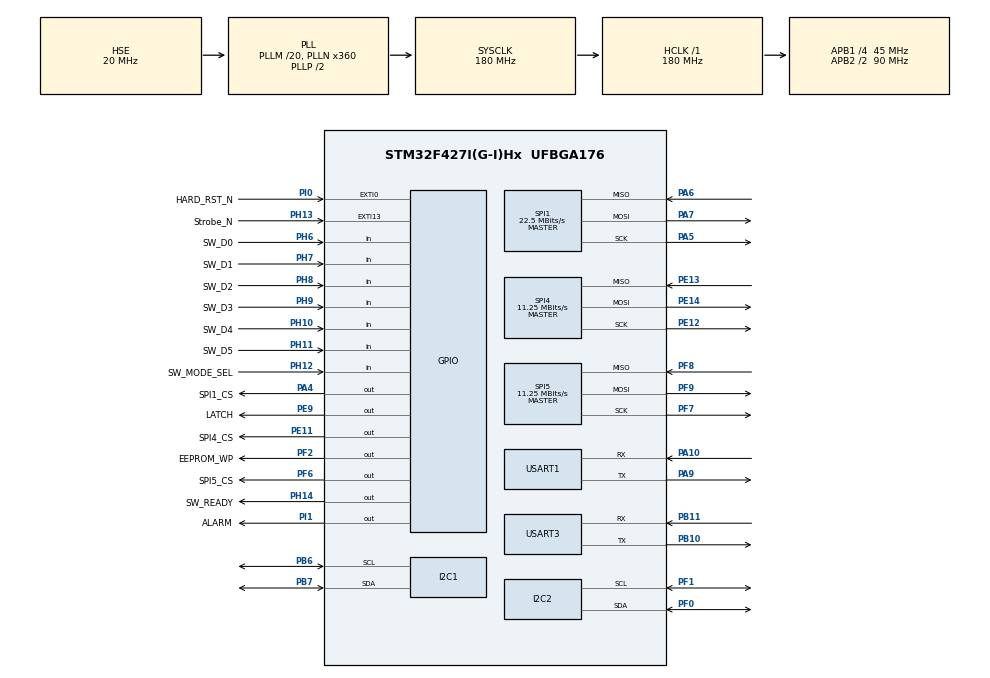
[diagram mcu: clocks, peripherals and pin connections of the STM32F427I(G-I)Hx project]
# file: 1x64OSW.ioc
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ADC1.Channel-0\#ChannelRegularConversion=ADC_CHANNEL_TEMPSENSOR
ADC1.NbrOfConversionFlag=1
ADC1.Rank-0\#ChannelRegularConversion=1
ADC1.SamplingTime-0\#ChannelRegularConversion=ADC_SAMPLETIME_3CYCLES
ADC1.master=1
Dma.Request0=USART1_RX
Dma.USART1_RX.0.Direction=DMA_PERIPH_TO_MEMORY
Dma.USART1_RX.0.FIFOMode=DMA_FIFOMODE_DISABLE
Dma.USART1_RX.0.Instance=DMA2_Stream2
Dma.USART1_RX.0.MemDataAlignment=DMA_MDATAALIGN_BYTE
Dma.USART1_RX.0.MemInc=DMA_MINC_ENABLE
Dma.USART1_RX.0.Mode=DMA_NORMAL
Dma.USART1_RX.0.PeriphDataAlignment=DMA_PDATAALIGN_BYTE
Dma.USART1_RX.0.PeriphInc=DMA_PINC_DISABLE
Dma.USART1_RX.0.Priority=DMA_PRIORITY_VERY_HIGH
FREERTOS.Tasks01=defaultTask,24,128,StartDefaultTask,Default,NULL,Dynamic,NULL,NULL
IWDG.Prescaler=IWDG_PRESCALER_32
IWDG.Reload=1500
Mcu.Family=STM32F4
Mcu.Name=STM32F427I(G-I)Hx
Mcu.Package=UFBGA176
NVIC.DMA2_Stream2_IRQn=true\:5\:0\:false\:false\:true\:true\:false\:true
NVIC.EXTI0_IRQn=true\:5\:0\:false\:false\:true\:true\:true\:true
NVIC.EXTI15_10_IRQn=true\:5\:0\:false\:false\:true\:true\:true\:true
NVIC.FLASH_IRQn=true\:5\:0\:false\:false\:true\:true\:true\:true
NVIC.PriorityGroup=NVIC_PRIORITYGROUP_4
NVIC.TIM1_TRG_COM_TIM11_IRQn=true\:0\:0\:false\:false\:true\:false\:false\:true
NVIC.TIM6_DAC_IRQn=true\:5\:0\:false\:false\:true\:true\:true\:true
NVIC.TimeBase=TIM1_TRG_COM_TIM11_IRQn
NVIC.TimeBaseIP=TIM11
NVIC.USART1_IRQn=true\:5\:0\:false\:false\:true\:true\:true\:true
PA10.Mode=Asynchronous
PA10.Signal=USART1_RX
PA4.GPIO_Label=SPI1_CS
PA4.GPIO_PuPd=GPIO_PULLDOWN
PA4.Signal=GPIO_Output
PA5.Mode=Full_Duplex_Master
PA5.Signal=SPI1_SCK
PA6.Mode=Full_Duplex_Master
PA6.Signal=SPI1_MISO
PA7.Mode=Full_Duplex_Master
PA7.Signal=SPI1_MOSI
PA9.Mode=Asynchronous
PA9.Signal=USART1_TX
PB10.Mode=Asynchronous
PB10.Signal=USART3_TX
PB11.Mode=Asynchronous
PB11.Signal=USART3_RX
PB6.Mode=I2C
PB6.Signal=I2C1_SCL
PB7.Mode=I2C
PB7.Signal=I2C1_SDA
PC14/OSC32_IN.Mode=LSE-External-Oscillator
PC14/OSC32_IN.Signal=RCC_OSC32_IN
PC15/OSC32_OUT.Mode=LSE-External-Oscillator
PC15/OSC32_OUT.Signal=RCC_OSC32_OUT
PE11.GPIO_Label=SPI4_CS
PE11.GPIO_PuPd=GPIO_PULLUP
PE11.Signal=GPIO_Output
PE12.Mode=Full_Duplex_Master
PE12.Signal=SPI4_SCK
PE13.Mode=Full_Duplex_Master
PE13.Signal=SPI4_MISO
PE14.Mode=Full_Duplex_Master
PE14.Signal=SPI4_MOSI
PE9.GPIO_Label=LATCH
PE9.Signal=GPIO_Output
PF0.Mode=I2C
PF0.Signal=I2C2_SDA
PF1.Mode=I2C
PF1.Signal=I2C2_SCL
PF2.GPIO_Label=EEPROM_WP
PF2.GPIO_PuPd=GPIO_PULLUP
PF2.Signal=GPIO_Output
PF6.GPIO_Label=SPI5_CS
PF6.GPIO_PuPd=GPIO_PULLUP
PF6.Signal=GPIO_Output
PF7.Mode=Full_Duplex_Master
PF7.Signal=SPI5_SCK
PF8.Mode=Full_Duplex_Master
PF8.Signal=SPI5_MISO
PF9.Mode=Full_Duplex_Master
PF9.Signal=SPI5_MOSI
PH0/OSC_IN.Mode=HSE-External-Oscillator
PH0/OSC_IN.Signal=RCC_OSC_IN
PH1/OSC_OUT.Mode=HSE-External-Oscillator
PH1/OSC_OUT.Signal=RCC_OSC_OUT
PH10.GPIO_Label=SW_D4
PH10.Signal=GPIO_Input
PH11.GPIO_Label=SW_D5
PH11.Signal=GPIO_Input
PH12.GPIO_Label=SW_MODE_SEL
PH12.Signal=GPIO_Input
PH13.GPIO_Label=Strobe_N
PH13.GPIO_ModeDefaultEXTI=GPIO_MODE_IT_FALLING
PH13.GPIO_PuPd=GPIO_PULLUP
PH13.Signal=GPXTI13
PH14.GPIO_Label=SW_READY
PH14.GPIO_PuPd=GPIO_PULLUP
PH14.Signal=GPIO_Output
PH6.GPIO_Label=SW_D0
PH6.Signal=GPIO_Input
PH7.GPIO_Label=SW_D1
PH7.Signal=GPIO_Input
PH8.GPIO_Label=SW_D2
PH8.Signal=GPIO_Input
PH9.GPIO_Label=SW_D3
PH9.Signal=GPIO_Input
PI0.GPIO_Label=HARD_RST_N
PI0.GPIO_ModeDefaultEXTI=GPIO_MODE_IT_FALLING
PI0.Signal=GPXTI0
PI1.GPIO_Label=ALARM
PI1.GPIO_PuPd=GPIO_PULLUP
PI1.Signal=GPIO_Output
ProjectManager.HeapSize=0x200
ProjectManager.StackSize=0x400
ProjectManager.TargetToolchain=MDK-ARM V5
RCC.48MHZClocksFreq_Value=90000000
RCC.AHBFreq_Value=180000000
RCC.APB1CLKDivider=RCC_HCLK_DIV4
RCC.APB1Freq_Value=45000000
RCC.APB1TimFreq_Value=90000000
RCC.APB2CLKDivider=RCC_HCLK_DIV2
RCC.APB2Freq_Value=90000000
RCC.APB2TimFreq_Value=180000000
RCC.CortexFreq_Value=180000000
RCC.HCLKFreq_Value=180000000
RCC.HSE_VALUE=20000000
RCC.HSI_VALUE=16000000
RCC.PLLM=20
RCC.PLLN=360
RCC.PLLSourceVirtual=RCC_PLLSOURCE_HSE
RCC.RCC_RTC_Clock_Source=RCC_RTCCLKSOURCE_LSE
RCC.RCC_RTC_Clock_SourceVirtual=RCC_RTCCLKSOURCE_LSE
RCC.SYSCLKFreq_VALUE=180000000
RCC.SYSCLKSource=RCC_SYSCLKSOURCE_PLLCLK
RCC.VCOOutputFreq_Value=360000000
RTC.AsynchPrediv=127
SPI1.BaudRatePrescaler=SPI_BAUDRATEPRESCALER_4
SPI1.CLKPhase=SPI_PHASE_2EDGE
SPI1.CalculateBaudRate=22.5 MBits/s
SPI1.Direction=SPI_DIRECTION_2LINES
SPI1.Mode=SPI_MODE_MASTER
SPI1.VirtualType=VM_MASTER
SPI4.BaudRatePrescaler=SPI_BAUDRATEPRESCALER_8
SPI4.CalculateBaudRate=11.25 MBits/s
SPI4.Direction=SPI_DIRECTION_2LINES
SPI4.Mode=SPI_MODE_MASTER
SPI4.VirtualType=VM_MASTER
SPI5.BaudRatePrescaler=SPI_BAUDRATEPRESCALER_8
SPI5.CalculateBaudRate=11.25 MBits/s
SPI5.Direction=SPI_DIRECTION_2LINES
SPI5.Mode=SPI_MODE_MASTER
SPI5.VirtualType=VM_MASTER
TIM6.AutoReloadPreload=TIM_AUTORELOAD_PRELOAD_DISABLE
TIM6.Period=99
TIM6.Prescaler=89
USART1.VirtualMode=VM_ASYNC
USART3.VirtualMode=VM_ASYNC
VP_ADC1_TempSens_Input.Mode=IN-TempSens
VP_FREERTOS_VS_CMSIS_V2.Mode=CMSIS_V2
VP_IWDG_VS_IWDG.Mode=IWDG_Activate
VP_RTC_VS_RTC_Activate.Mode=RTC_Enabled
VP_SYS_VS_tim11.Mode=TIM11
VP_TIM6_VS_ClockSourceINT.Mode=Enable_Timer
board=custom

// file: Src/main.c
/* USER CODE BEGIN Header */
/**
  ******************************************************************************
  * @file           : main.c
  * @brief          : Main program body
  ******************************************************************************
  * @attention
  *
  * <h2><center>&copy; Copyright (c) 2020 STMicroelectronics.
  * All rights reserved.</center></h2>
  *
  * This software component is licensed by ST under Ultimate Liberty license
  * SLA0044, the "License"; You may not use this file except in compliance with
  * the License. You may obtain a copy of the License at:
  *                             www.st.com/SLA0044
  *
  ******************************************************************************
  */
/* USER CODE END Header */

#include "main.h"
#include "cmsis_os.h"
#include "adc.h"
#include "dma.h"
#include "i2c.h"
#include "iwdg.h"
#include "rtc.h"
#include "spi.h"
#include "tim.h"
#include "usart.h"
#include "gpio.h"

/* USER CODE BEGIN PV */
uint8_t reset_flag = 0;
uint8_t flash_in_use;
UpgradeFlashState upgrade_status;
LogFileState log_file_state;
#if 1
const uint32_t file_flash_addr[] =  {  0x08100000, 0x08104000, 0x08108000, 0x0810C000, 0x08110000, 0x08120000,\
                                       0x08140000, 0x08160000, 0x08180000, 0x081A0000, 0x081C0000, 0x081E0000};
const uint32_t file_flash_end = 0x081FFFFF;
#else
const uint32_t file_flash_addr[] =  {  0x08100000, 0x08104000, 0x08108000};
const uint32_t file_flash_end = 0x0810BFFF;
#endif
const uint8_t file_flash_count = sizeof(file_flash_addr) / sizeof (file_flash_addr[0]);

RunTimeStatus run_status __attribute__((at(0x2002FC00)));

uint8_t upgrade_bootloader = 0;
uint8_t reserve_empty = 0;
uint8_t lock_debug = 1;

SwTimControl sw_tim_control;
extern osSemaphoreId_t switchSemaphore;
MsgStruct tim_isr_msg;
/* USER CODE END PV */

void SystemClock_Config(void);
void MX_FREERTOS_Init(void);

/* USER CODE BEGIN 0 */
extern UpgradeStruct up_state;
/* USER CODE END 0 */

int main(void)
{

  /* MCU Configuration--------------------------------------------------------*/

  /* Reset of all peripherals, Initializes the Flash interface and the Systick. */
  HAL_Init();

  /* Configure the system clock */
  SystemClock_Config();

  /* Initialize all configured peripherals */
  MX_GPIO_Init();
  MX_DMA_Init();
  MX_ADC1_Init();
  MX_I2C1_Init();
  MX_I2C2_Init();
  MX_IWDG_Init();
  MX_SPI1_Init();
  MX_SPI4_Init();
  MX_SPI5_Init();
  MX_USART1_UART_Init();
  MX_USART3_UART_Init();
  MX_RTC_Init();
  MX_TIM6_Init();
  /* USER CODE BEGIN 2 */
  uint8_t buf[3] = {0};
  if (HAL_SPI_Transmit(&hspi1, buf, 1, 10) != HAL_OK) {
    EPT("spi1 transmit filed when init\n");
  }
  HAL_GPIO_WritePin(SPI4_CS_GPIO_Port, SPI4_CS_Pin, GPIO_PIN_SET);
  HAL_GPIO_WritePin(SPI5_CS_GPIO_Port, SPI5_CS_Pin, GPIO_PIN_SET);

  run_status.internal_exp = 0;
  Set_Flag(&run_status.internal_exp, INT_EXP_CONST);
  /* USER CODE END 2 */
  /* Init scheduler */
  osKernelInitialize();

  /* Call init function for freertos objects (in freertos.c) */
  MX_FREERTOS_Init();

  /* Start scheduler */
  osKernelStart();

  /* We should never get here as control is now taken by the scheduler */

  /* Infinite loop */
  while (1)
  {

  }
}

void SystemClock_Config(void)
{
  RCC_OscInitTypeDef RCC_OscInitStruct = {0};
  RCC_ClkInitTypeDef RCC_ClkInitStruct = {0};
  RCC_PeriphCLKInitTypeDef PeriphClkInitStruct = {0};

  /** Configure the main internal regulator output voltage
  */
  __HAL_RCC_PWR_CLK_ENABLE();
  __HAL_PWR_VOLTAGESCALING_CONFIG(PWR_REGULATOR_VOLTAGE_SCALE1);
  /** Initializes the CPU, AHB and APB busses clocks
  */
  RCC_OscInitStruct.OscillatorType = RCC_OSCILLATORTYPE_LSI|RCC_OSCILLATORTYPE_HSE
                              |RCC_OSCILLATORTYPE_LSE;
  RCC_OscInitStruct.HSEState = RCC_HSE_ON;
  RCC_OscInitStruct.LSEState = RCC_LSE_ON;
  RCC_OscInitStruct.LSIState = RCC_LSI_ON;
  RCC_OscInitStruct.PLL.PLLState = RCC_PLL_ON;
  RCC_OscInitStruct.PLL.PLLSource = RCC_PLLSOURCE_HSE;
  RCC_OscInitStruct.PLL.PLLM = 20;
  RCC_OscInitStruct.PLL.PLLN = 360;
  RCC_OscInitStruct.PLL.PLLP = RCC_PLLP_DIV2;
  RCC_OscInitStruct.PLL.PLLQ = 4;
  if (HAL_RCC_OscConfig(&RCC_OscInitStruct) != HAL_OK)
  {
    Error_Handler();
  }
  /** Activate the Over-Drive mode
  */
  if (HAL_PWREx_EnableOverDrive() != HAL_OK)
  {
    Error_Handler();
  }
  /** Initializes the CPU, AHB and APB busses clocks
  */
  RCC_ClkInitStruct.ClockType = RCC_CLOCKTYPE_HCLK|RCC_CLOCKTYPE_SYSCLK
                              |RCC_CLOCKTYPE_PCLK1|RCC_CLOCKTYPE_PCLK2;
  RCC_ClkInitStruct.SYSCLKSource = RCC_SYSCLKSOURCE_PLLCLK;
  RCC_ClkInitStruct.AHBCLKDivider = RCC_SYSCLK_DIV1;
  RCC_ClkInitStruct.APB1CLKDivider = RCC_HCLK_DIV4;
  RCC_ClkInitStruct.APB2CLKDivider = RCC_HCLK_DIV2;

  if (HAL_RCC_ClockConfig(&RCC_ClkInitStruct, FLASH_LATENCY_5) != HAL_OK)
  {
    Error_Handler();
  }
  PeriphClkInitStruct.PeriphClockSelection = RCC_PERIPHCLK_RTC;
  PeriphClkInitStruct.RTCClockSelection = RCC_RTCCLKSOURCE_LSE;
  if (HAL_RCCEx_PeriphCLKConfig(&PeriphClkInitStruct) != HAL_OK)
  {
    Error_Handler();
  }
}

/* USER CODE BEGIN 4 */

extern RespondStu resp_buf;
void OSW_Init(void)
{
  osStatus_t status;
  uint32_t i;
  uint8_t buf[TAG_MAX_SPACE];
  char *p = (char*)resp_buf.buf;

  EPT("Firmware version: %s\n", fw_version);

  status = RTOS_EEPROM_Read(EEPROM_ADDR, EE_TAG_PN, (uint8_t*)pn, 8);
  pn[8] = 0;
  status |= RTOS_EEPROM_Read(EEPROM_ADDR, EE_TAG_HW_VERSION, (uint8_t*)hw_version, 5);
  hw_version[5] = 0;
  status |= RTOS_EEPROM_Read(EEPROM_ADDR, EE_TAG_SUPPLIER, (uint8_t*)supplier_id, 4);
  supplier_id[4] = 0;
  if (status != osOK) {
    Set_Flag(&run_status.internal_exp, INT_EXP_INIT);
  }

  if (__HAL_RCC_GET_FLAG(RCC_FLAG_BORRST) != RESET){
    SET_RESETFLAG(BOR_RESET_BIT);
    //EPT("BOR Reset is set\n");
  }
  if (__HAL_RCC_GET_FLAG(RCC_FLAG_PINRST) != RESET){
    SET_RESETFLAG(PIN_RESET_BIT);
    //EPT("PIN Reset is set\n");
  }
  if (__HAL_RCC_GET_FLAG(RCC_FLAG_PORRST) != RESET){
    SET_RESETFLAG(POR_RESET_BIT);
    //EPT("POR/PDR Reset is set\n");
  }
  if (__HAL_RCC_GET_FLAG(RCC_FLAG_SFTRST) != RESET){
    SET_RESETFLAG(SFT_RESET_BIT);
    //EPT("Software Reset is set\n");
  }
  if (__HAL_RCC_GET_FLAG(RCC_FLAG_IWDGRST) != RESET){
    SET_RESETFLAG(IWDG_RESET_BIT);
    //EPT("Independent Watchdog Reset is set\n");
  }
  if (__HAL_RCC_GET_FLAG(RCC_FLAG_WWDGRST) != RESET){
    SET_RESETFLAG(WWDG_RESET_BIT);
    //EPT("Window Watchdog Reset is set\n");
  }
  if (__HAL_RCC_GET_FLAG(RCC_FLAG_LPWRRST) != RESET){
    SET_RESETFLAG(LPWR_RESET_BIT);
    //EPT("Low-Power Reset is set\n");
  }
  __HAL_RCC_CLEAR_RESET_FLAGS();
  EPT("Run status maigc = %#X, uart_reset = %u\n", run_status.maigc, run_status.uart_reset);

  if (IS_RESETFLAG_SET(SFT_RESET_BIT) || IS_RESETFLAG_SET(IWDG_RESET_BIT)) {
    HAL_GPIO_WritePin(SW_READY_GPIO_Port, SW_READY_Pin, GPIO_PIN_SET);
    HAL_GPIO_WritePin(LATCH_GPIO_Port, LATCH_Pin, GPIO_PIN_SET);
    osDelay(pdMS_TO_TICKS(1));
    HAL_GPIO_WritePin(LATCH_GPIO_Port, LATCH_Pin, GPIO_PIN_RESET);

    if (run_status.maigc == RUN_MAGIC) {
      if (run_status.uart_reset) {
        run_status.uart_reset = 0;
        EPT("Startup with UART Reset\n");
        THROW_LOG("Startup with SOFT Reset\n");
        memset(p, 0, 116);
        p += 4; p += 36;
        strncpy((char*)p, supplier_id, 4);
        strncpy((char*)p + 4, hw_version, 5);
        strncpy((char*)p + 4 + 5, fw_version, 5);
        p += 37;
        status = RTOS_EEPROM_Read(EEPROM_ADDR, EE_TAG_ASN, buf, 12);
        memcpy(p, buf, 12);
        p += 20;
        status |= RTOS_EEPROM_Read(EEPROM_ADDR, EE_TAG_FSN, buf, 23);
        memcpy(p, buf, 23);
        p += 23;
        if (status != osOK) {
          EPT("EEPROM ERROR! status = %d\n", status);
          //THROW_LOG("Read EEPROM Failed! status = %d\n", status);
          Set_Flag(&run_status.internal_exp, INT_EXP_INIT);
        }
        Uart_Respond(CMD_SOFTRESET, RESPOND_SUCCESS, resp_buf.buf, 120);
      } else {
        if (IS_RESETFLAG_SET(IWDG_RESET_BIT)) {
          EPT("Startup with WATCHDOG Reset\n");
          THROW_LOG("Startup with WATCHDOG Reset\n");
        } else {
          EPT("Startup with HARD Reset\n");
          THROW_LOG("Startup with HARD Reset\n");
        }
      }
#if 0
      EPT("The optical switch channel configured last time is %u\n", run_status.switch_channel);
      if (run_status.switch_channel != (uint32_t)Get_Current_Switch_Channel()) {
        EPT("Detect optical switch channel incorrect while initializing\n");
        THROW_LOG("Detect optical switch channel %u incorrect while initializing\n", run_status.switch_channel);
        Reset_Switch();
      }
#endif
      if (run_status.exp) {
        HAL_GPIO_WritePin(ALARM_GPIO_Port, ALARM_Pin, GPIO_PIN_RESET);
      } else {
        HAL_GPIO_WritePin(ALARM_GPIO_Port, ALARM_Pin, GPIO_PIN_SET);
      }
#if 0
      if (run_status.switch_channel) {
        HAL_GPIO_WritePin(SW_READY_GPIO_Port, SW_READY_Pin, GPIO_PIN_RESET);
      } else {
        HAL_GPIO_WritePin(SW_READY_GPIO_Port, SW_READY_Pin, GPIO_PIN_SET);
      }
#endif
    } else {
      // Init device
      HAL_GPIO_WritePin(SW_READY_GPIO_Port, SW_READY_Pin, GPIO_PIN_SET);
      HAL_GPIO_WritePin(ALARM_GPIO_Port, ALARM_Pin, GPIO_PIN_SET);
      HAL_GPIO_WritePin(LATCH_GPIO_Port, LATCH_Pin, GPIO_PIN_SET);
      osDelay(pdMS_TO_TICKS(1));
      HAL_GPIO_WritePin(LATCH_GPIO_Port, LATCH_Pin, GPIO_PIN_RESET);
      Init_Run_Status();
      // Read threshold to variable
      Get_Threshold_Table(&run_status.thr_table);
      EPT("Variable run_status exception\n");
      THROW_LOG("Variable run_status exception\n");
    }
  } else if (IS_RESETFLAG_SET(BOR_RESET_BIT) || IS_RESETFLAG_SET(POR_RESET_BIT)) {
    // Init device
    HAL_GPIO_WritePin(SW_READY_GPIO_Port, SW_READY_Pin, GPIO_PIN_SET);
    HAL_GPIO_WritePin(ALARM_GPIO_Port, ALARM_Pin, GPIO_PIN_SET);
    HAL_GPIO_WritePin(LATCH_GPIO_Port, LATCH_Pin, GPIO_PIN_SET);
    osDelay(pdMS_TO_TICKS(1));
    HAL_GPIO_WritePin(LATCH_GPIO_Port, LATCH_Pin, GPIO_PIN_RESET);
    Init_Run_Status();
    Get_Threshold_Table(&run_status.thr_table);
    EPT("Startup with POWER Reset\n");
    //THROW_LOG("Startup with POWER Reset\n");
  } else {
    Reset_Switch_Only();
    // Init device
    HAL_GPIO_WritePin(SW_READY_GPIO_Port, SW_READY_Pin, GPIO_PIN_SET);
    HAL_GPIO_WritePin(ALARM_GPIO_Port, ALARM_Pin, GPIO_PIN_SET);
    HAL_GPIO_WritePin(LATCH_GPIO_Port, LATCH_Pin, GPIO_PIN_SET);
    osDelay(pdMS_TO_TICKS(1));
    HAL_GPIO_WritePin(LATCH_GPIO_Port, LATCH_Pin, GPIO_PIN_RESET);
    Init_Run_Status();
    Get_Threshold_Table(&run_status.thr_table);
    EPT("Startup with MASTER Reset\n");
    THROW_LOG("Startup with MASTER Reset\n");
  }

  // upgrade
  up_state.run = RUN_MODE_APPLICATION;
  up_state.is_erasing = 0;
  flash_in_use = 0;

  FLASH_If_Init();
  status = Get_Up_Status(&upgrade_status);
  if (status) {
    EPT("Get upgrade status failed, status = %d\n", status);
    THROW_LOG("Get upgrade status failed, status = %d\n", status);
    Set_Flag(&run_status.internal_exp, INT_EXP_INIT);
  }
  EPT("upgrade_status: %#X, %u, %u, %u, %#X, %u, %#X\n", upgrade_status.magic, upgrade_status.run, upgrade_status.flash_empty, upgrade_status.length, upgrade_status.crc32,\
                upgrade_status.factory_length, upgrade_status.factory_crc32);

  if (upgrade_status.magic != UPGRADE_MAGIC) {
    EPT("Verify upgrade magic failed\n");
    THROW_LOG("Verify upgrade magic failed\n");
  }
  switch (upgrade_status.run) {
    case 0:
      EPT("Boot from factory\n");
      up_state.upgrade_addr = APPLICATION_1_ADDRESS;
      up_state.upgrade_sector = APPLICATION_1_SECTOR;
      break;
    case 1:
      EPT("Boot from Application 1\n");
      up_state.upgrade_addr = APPLICATION_2_ADDRESS;
      up_state.upgrade_sector = APPLICATION_2_SECTOR;
      break;
    case 2:
      EPT("Boot from Application 2\n");
      up_state.upgrade_addr = APPLICATION_1_ADDRESS;
      up_state.upgrade_sector = APPLICATION_1_SECTOR;
      break;
    default:
      EPT("f_state.run invalid\n");
      THROW_LOG("f_state.run invalid\n");
      up_state.upgrade_addr = RESERVE_ADDRESS;
      up_state.upgrade_sector = RESERVE_SECTOR;
      break;
  }
  EPT("FLASH->OPTCR = %#X\n", FLASH->OPTCR);
  if (!upgrade_status.flash_empty) {
    // erase flash
    EPT("flash is not empty\n");
    if (up_state.upgrade_addr != RESERVE_ADDRESS) {
      if (FLASH_If_Erase_IT(up_state.upgrade_sector) == FLASHIF_OK) {
        flash_in_use = 1;
        up_state.is_erasing = 1;
        EPT("erase sector...\n");
      } else {
        Set_Flag(&run_status.internal_exp, INT_EXP_UP_ERASE);
      }
    }
  } else {
    EPT("flash is empty\n");
  }

  // log
  Get_Log_Status(&log_file_state);
  EPT("log_file_state: %#X, %#X\n", log_file_state.offset, log_file_state.header);
  for (i = 0; i < file_flash_count - 1; ++i) {
    if (log_file_state.offset < file_flash_addr[i + 1]) {
      break;
    }
  }
  log_file_state.cur_sector = LOG_FIRST_SECTOR + i;

  // check calibration data
  Check_Cali();
}

extern FLASH_ProcessTypeDef pFlash;
extern osMessageQueueId_t mid_ISR;
extern osMessageQueueId_t mid_SwISR;
extern osSemaphoreId_t logEraseSemaphore;
void HAL_FLASH_EndOfOperationCallback(uint32_t ReturnValue)
{
  MsgStruct isr_msg;
  if (0xFFFFFFFFU == ReturnValue) {
    EPT("Erase flash operation completely\n");
    HAL_FLASH_Lock();
    flash_in_use = 0;
    if (up_state.is_erasing == 0) {
      // send signal to logTask
      osSemaphoreRelease(logEraseSemaphore);
    } else {
      if (!upgrade_bootloader) {
        upgrade_status.flash_empty = 1;
        up_state.is_erasing = 0;
        isr_msg.type = MSG_TYPE_FLASH_ISR;
        osMessageQueuePut(mid_ISR, &isr_msg, 0U, 0U);
      } else {
        reserve_empty = 1;
        up_state.is_erasing = 0;
      }
    }
  }
}
void HAL_GPIO_EXTI_Callback(uint16_t GPIO_Pin)
{
  MsgStruct isr_msg;

  if (GPIO_Pin == Strobe_N_Pin) {
    if (HAL_GPIO_ReadPin(SW_MODE_SEL_GPIO_Port, SW_MODE_SEL_Pin) == GPIO_PIN_SET) {
      //EPT("Switch strobe signal come but switch mode is wrong\n");
      //THROW_LOG("Switch strobe signal come but switch mode is wrong\n");
    } else {
      isr_msg.type = MSG_TYPE_SWITCH_ISR;
      osMessageQueuePut(mid_ISR, &isr_msg, 0U, 0U);
    }
  } else if (GPIO_Pin == HARD_RST_N_Pin) {
    __NVIC_SystemReset();
    while (1) {
    }
  }
}

/* USER CODE END 4 */

void HAL_TIM_PeriodElapsedCallback(TIM_HandleTypeDef *htim)
{
  if (htim->Instance == TIM11) {
    HAL_IncTick();
  }
  /* USER CODE BEGIN Callback 1 */
  if (htim->Instance == TIM6) {
    if (++sw_tim_control.counter < sw_tim_control.time) {
    } else {
      HAL_TIM_Base_Stop_IT(&htim6);
      tim_isr_msg.type = MSG_TYPE_SWITCH_DAC_ISR;
      osMessageQueuePut(mid_SwISR, &tim_isr_msg, 0U, 0U);
      sw_tim_control.counter = 0;
    }
  }

  /* USER CODE END Callback 1 */
}

void Error_Handler(void)
{
}

/************************ (C) COPYRIGHT STMicroelectronics *****END OF FILE****/

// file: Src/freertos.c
/* USER CODE BEGIN Header */
/**
  ******************************************************************************
  * File Name          : freertos.c
  * Description        : Code for freertos applications
  ******************************************************************************
  * @attention
  *
  * <h2><center>&copy; Copyright (c) 2020 STMicroelectronics.
  * All rights reserved.</center></h2>
  *
  * This software component is licensed by ST under Ultimate Liberty license
  * SLA0044, the "License"; You may not use this file except in compliance with
  * the License. You may obtain a copy of the License at:
  *                             www.st.com/SLA0044
  *
  ******************************************************************************
  */
/* USER CODE END Header */

#include "FreeRTOS.h"
#include "task.h"
#include "main.h"
#include "cmsis_os.h"

/* USER CODE BEGIN Includes */
#include "command.h"
#include "iwdg.h"
#include "flash_if.h"
#include "functions.h"
#include "tim.h"

/* USER CODE END Includes */

/* USER CODE BEGIN Variables */
osSemaphoreId_t uartProcessSemaphore;
osSemaphoreId_t cmdProcessSemaphore;
osSemaphoreId_t switchSemaphore;
osSemaphoreId_t logEraseSemaphore;                  // semaphore id

osMessageQueueId_t mid_LogMsg;
osMessageQueueId_t mid_ISR;                // message queue id
osMessageQueueId_t mid_SwISR;                // message queue id

osMutexId_t i2c1Mutex;
osMutexId_t i2c2Mutex;
osMutexId_t spi1Mutex;
osMutexId_t spi4Mutex;
osMutexId_t spi5Mutex;
osMutexId_t swMutex;
const osMutexAttr_t Thread_Mutex_attr = {
  "Mutex",                              // human readable mutex name
  osMutexPrioInherit,                       // attr_bits
  NULL,                                     // memory for control block
  0U                                        // size for control block
};

osThreadId_t cmdProcessTaskHandle;
const osThreadAttr_t cmdProcessTask_attributes = {
  .name = "cmdProcessTask",
  .priority = (osPriority_t) CMD_PROCESS_PRIORITY,
  .stack_size = 2048
};

osThreadId_t uartProcessTaskHandle;
const osThreadAttr_t uartProcessTask_attributes = {
  .name = "uartProcessTask",
  .priority = (osPriority_t) UART_PROCESS_PRIORITY,
  .stack_size = 1024
};

osThreadId_t watchdogTaskHandle;
const osThreadAttr_t watchdogTask_attributes = {
  .name = "watchdogTask",
  .priority = (osPriority_t) WATCHDOG_PRIORITY,
  .stack_size = 512
};

osThreadId_t isrTaskHandle;
const osThreadAttr_t isrTask_attributes = {
  .name = "isrTask",
  .priority = (osPriority_t) INTERRUPT_TASK_PRIORITY,
  .stack_size = 1024
};

osThreadId_t swIsrTaskHandle;
const osThreadAttr_t swIsrTask_attributes = {
  .name = "swIsrTask",
  .priority = (osPriority_t) INTERRUPT_TASK_PRIORITY,
  .stack_size = 1024
};

osThreadId_t logTaskHandle;
const osThreadAttr_t logTask_attributes = {
  .name = "logTask",
  .priority = (osPriority_t) LOG_MESSAGE_PRIORITY,
  .stack_size = 1024
};

osThreadId_t monTaskHandle;
const osThreadAttr_t monTask_attributes = {
  .name = "monTask",
  .priority = (osPriority_t) MONITOR_PRIORITY,
  .stack_size = 1024
};

/* USER CODE END Variables */
/* Definitions for defaultTask */
osThreadId_t defaultTaskHandle;
const osThreadAttr_t defaultTask_attributes = {
  .name = "defaultTask",
  .priority = (osPriority_t) osPriorityNormal,
  .stack_size = 128
};

/* USER CODE BEGIN FunctionPrototypes */
void uartProcessTask(void *argument);
void cmdProcessTask(void *argument);
void watchdogTask(void *argument);
void isrTask(void *argument);
void swIsrTask(void *argument);
void logTask(void *argument);
void monitorTask(void *argument);

/* USER CODE END FunctionPrototypes */

void StartDefaultTask(void *argument);

void MX_FREERTOS_Init(void); /* (MISRA C 2004 rule 8.1) */

void MX_FREERTOS_Init(void) {

  /* USER CODE BEGIN RTOS_SEMAPHORES */
  /* add semaphores, ... */
  uartProcessSemaphore = osSemaphoreNew(1U, 0U, NULL);
  if (uartProcessSemaphore == NULL) {
    Set_Flag(&run_status.internal_exp, INT_EXP_INIT);
  }

  cmdProcessSemaphore = osSemaphoreNew(1U, 0U, NULL);
  if (cmdProcessSemaphore == NULL) {
    Set_Flag(&run_status.internal_exp, INT_EXP_INIT);
  }

  switchSemaphore = osSemaphoreNew(1U, 0U, NULL);
  if (switchSemaphore == NULL) {
    Set_Flag(&run_status.internal_exp, INT_EXP_INIT);
  }

  logEraseSemaphore = osSemaphoreNew(1U, 0U, NULL);
  if (logEraseSemaphore == NULL) {
    Set_Flag(&run_status.internal_exp, INT_EXP_INIT);
  }

  mid_LogMsg = osMessageQueueNew(LOG_QUEUE_LENGTH, sizeof(MsgStruct), NULL);
  if (mid_LogMsg == NULL) {
    Set_Flag(&run_status.internal_exp, INT_EXP_INIT);
  }

  mid_ISR = osMessageQueueNew(ISR_QUEUE_LENGTH, sizeof(MsgStruct), NULL);
  if (mid_ISR == NULL) {
    Set_Flag(&run_status.internal_exp, INT_EXP_INIT);
  }

  mid_SwISR = osMessageQueueNew(SW_ISR_QUEUE_LENGTH, sizeof(MsgStruct), NULL);
  if (mid_SwISR == NULL) {
    Set_Flag(&run_status.internal_exp, INT_EXP_INIT);
  }

  i2c1Mutex = osMutexNew(&Thread_Mutex_attr);
  if (i2c1Mutex == NULL) {
    Set_Flag(&run_status.internal_exp, INT_EXP_INIT);
  }

  i2c2Mutex = osMutexNew(&Thread_Mutex_attr);
  if (i2c2Mutex == NULL) {
    Set_Flag(&run_status.internal_exp, INT_EXP_INIT);
  }

  spi1Mutex = osMutexNew(&Thread_Mutex_attr);
  if (spi1Mutex == NULL) {
    Set_Flag(&run_status.internal_exp, INT_EXP_INIT);
  }

  spi4Mutex = osMutexNew(&Thread_Mutex_attr);
  if (spi4Mutex == NULL) {
    Set_Flag(&run_status.internal_exp, INT_EXP_INIT);
  }

  spi5Mutex = osMutexNew(&Thread_Mutex_attr);
  if (spi5Mutex == NULL) {
    Set_Flag(&run_status.internal_exp, INT_EXP_INIT);
  }

  swMutex = osMutexNew(&Thread_Mutex_attr);
  if (swMutex == NULL) {
    Set_Flag(&run_status.internal_exp, INT_EXP_INIT);
  }

  /* USER CODE END RTOS_SEMAPHORES */

  /* Create the thread(s) */
  /* creation of defaultTask */
  defaultTaskHandle = osThreadNew(StartDefaultTask, NULL, &defaultTask_attributes);

  /* USER CODE BEGIN RTOS_THREADS */
  /* add threads, ... */
  uartProcessTaskHandle = osThreadNew(uartProcessTask, NULL, &uartProcessTask_attributes);
  cmdProcessTaskHandle = osThreadNew(cmdProcessTask, NULL, &cmdProcessTask_attributes);
  watchdogTaskHandle = osThreadNew(watchdogTask, NULL, &watchdogTask_attributes);
  isrTaskHandle = osThreadNew(isrTask, NULL, &isrTask_attributes);
  swIsrTaskHandle = osThreadNew(swIsrTask, NULL, &swIsrTask_attributes);
  logTaskHandle = osThreadNew(logTask, NULL, &logTask_attributes);
  monTaskHandle = osThreadNew(monitorTask, NULL, &monTask_attributes);

  /* USER CODE END RTOS_THREADS */

}

void StartDefaultTask(void *argument)
{
  for(;;)
  {
    osDelay(1);
  }
}

/* USER CODE BEGIN Application */
extern TransStu trans_buf;
extern RespondStu resp_buf;
struct UartTaskSync{
  uint8_t ProcessOnGoing;
  uint8_t ProcessTimeout;
} uart_sync;

void uartProcessTask(void *argument)
{
  uint32_t msg_length;
  uint32_t msg_id;
  uint32_t chk;
  uint32_t wait_time;
  uint32_t *p32;
  osStatus_t status;

  CLEAR_BIT(huart1.Instance->SR, USART_SR_RXNE);
  __HAL_UART_FLUSH_DRREGISTER(&huart1);
  HAL_UART_Receive_IT(&huart1, trans_buf.buf, 1);

  uart_sync.ProcessTimeout = 0;
  uart_sync.ProcessOnGoing = 0;
  trans_buf.stage = TRANS_WAIT_START;

  for(;;)
  {
    if (trans_buf.stage == TRANS_WAIT_START) {
      wait_time = osWaitForever;
    } else if (trans_buf.stage == TRANS_WAIT_HEADER) {
      wait_time = pdMS_TO_TICKS(TRANS_WAIT_HEAD_TIME);
    } else if (trans_buf.stage == TRANS_RECV_DATA) {
      wait_time = pdMS_TO_TICKS(TRANS_WAIT_TIME);
    }
    status = osSemaphoreAcquire(uartProcessSemaphore, wait_time);
    if (status != osOK) {
      HAL_UART_DMAStop(&huart1);
      EPT("DMA timeout, stage = %u, ErrorCode = %#X\n", trans_buf.stage, huart1.ErrorCode);
      THROW_LOG("DMA timeout, stage = %u, ErrorCode = %#X\n", trans_buf.stage, huart1.ErrorCode);
      Uart_Respond(msg_id, RESPOND_LENGTH_ERR, NULL, 0);
      trans_buf.stage = TRANS_WAIT_START;
      HAL_UART_Receive_IT(&huart1, trans_buf.buf, 1);
      continue;
    }

    if (trans_buf.stage == TRANS_WAIT_START) {
      // Received start byte
      if (trans_buf.buf[0] != TRANS_START_BYTE) {
        // Invalid data
        EPT("Invalid character: %#X\n", trans_buf.buf[0]);
        HAL_UART_Receive_IT(&huart1, trans_buf.buf, 1);
      } else {
        // Prepare to receive message header
        msg_id = 0;
        trans_buf.stage = TRANS_WAIT_HEADER;
        HAL_UART_Receive_DMA(&huart1, &trans_buf.buf[CMD_SEQ_MSG_ID], 8);
      }
    } else if (trans_buf.stage == TRANS_WAIT_HEADER) {
      // Received message header
      p32 = (uint32_t*)&trans_buf.buf[CMD_SEQ_MSG_ID];
      msg_id = switch_endian(*p32);
      p32 = (uint32_t*)&trans_buf.buf[CMD_SEQ_MSG_LENGTH];
      msg_length = switch_endian(*p32);
      if (msg_length > TRANS_MAX_LENGTH - 1 || msg_length < 4 * 5) {
        // Length invalid
        PRINT_HEX("buf", trans_buf.buf, 9);
        EPT("Invalid length %#X\n", msg_length);
        THROW_LOG("Invalid length %#X\n", msg_length);
        Uart_Respond(msg_id, RESPOND_LENGTH_ERR, NULL, 0);
        trans_buf.stage = TRANS_WAIT_START;
        HAL_UART_Receive_IT(&huart1, trans_buf.buf, 1);
      } else {
        trans_buf.stage = TRANS_RECV_DATA;
        HAL_UART_Receive_DMA(&huart1, &trans_buf.buf[CMD_SEQ_MSG_DATA], msg_length - 8);
        //EPT("Message Length: %u, ID: %u\n", msg_length, msg_id);
        trans_buf.length = msg_length + 1;
      }
    } else if (trans_buf.stage == TRANS_RECV_DATA){
      // Received message data

      // TODO: Check CRC
      chk = Cal_CRC32((uint8_t*)&trans_buf.buf[CMD_SEQ_MSG_ID], trans_buf.length - 4 - 1);
      p32 = (uint32_t*)&trans_buf.buf[trans_buf.length - 4];
      if (chk ^ switch_endian(*p32)) {
        // Incorrect
        THROW_LOG("UART CRC32 verification failed, msg_length = %#X, trans_buf.length = %#X, chk = %#X, rcv_chk = %#X\n",\
          msg_length, trans_buf.length, chk, switch_endian(*(uint32_t*)&trans_buf.buf[trans_buf.length - 4]));
        EPT("UART CRC32 verification failed\n");
        EPT("msg_length = %#X, trans_buf.length = %#X, chk = %#X, rcv_chk = %#X\n", msg_length, trans_buf.length, chk, switch_endian((uint32_t)trans_buf.buf[trans_buf.length - 4]));
        PRINT_HEX("buf", trans_buf.buf, trans_buf.length);
        FILL_RESP_MSG(msg_id, RESPOND_CHECKSUM_ERR, 0);
      } else {
        if (!uart_sync.ProcessOnGoing) {
          // Process Command and Respond
          xTaskNotifyGive(cmdProcessTaskHandle);
          status = osSemaphoreAcquire(cmdProcessSemaphore, pdMS_TO_TICKS(COMMAND_PROCESS_TIME));
          if (status == osErrorTimeout) {
            // TODO: Process command timeout
            THROW_LOG("Process command %#X timeout\n", msg_id);
            EPT("Process command timeout\n");
            uart_sync.ProcessTimeout = 1;
            FILL_RESP_MSG(msg_id, RESPOND_LENGTH_ERR, 0);
          } else if (status != osOK) {
            EPT("Error, status=%#X\n", status);
            THROW_LOG("Error, status=%#X\n", status);
            FILL_RESP_MSG(msg_id, RESPOND_LENGTH_ERR, 0);
          } else {
            // success
          }
        } else {
            EPT("Detected process is ongoing\n");
            THROW_LOG("Detected process is ongoing\n");
            FILL_RESP_MSG(msg_id, RESPOND_LENGTH_ERR, 0);
        }
      }

      trans_buf.stage = TRANS_WAIT_START;
      HAL_UART_Receive_IT(&huart1, trans_buf.buf, 1);
      Uart_Respond(resp_buf.cmd, resp_buf.status, resp_buf.buf, resp_buf.length);
    }
  }
}

void cmdProcessTask(void *argument)
{
  for (;;)
  {
    ulTaskNotifyTake(pdTRUE, portMAX_DELAY);
    if (trans_buf.stage != TRANS_RECV_DATA) {
      EPT("Stage incorrect\n");
      THROW_LOG("Stage incorrect\n");
      continue;
    }

    uart_sync.ProcessOnGoing = 1;
    Cmd_Process();

    if (uart_sync.ProcessTimeout == 0) {
      osSemaphoreRelease(cmdProcessSemaphore);
      //Uart_Respond(resp_buf.cmd, resp_buf.status, resp_buf.buf, resp_buf.length);
    } else {
      EPT("Detected process timeout\n");
      THROW_LOG("Detected process timeout\n");
      uart_sync.ProcessTimeout = 0;
    }

    uart_sync.ProcessOnGoing = 0;
  }
}

void watchdogTask(void *argument)
{
  uint32_t delay = pdMS_TO_TICKS(WATCH_DOG_DELAY_TIME);

  HAL_IWDG_Refresh(&hiwdg);
  for(;;)
  {
    osDelay(delay);
    HAL_IWDG_Refresh(&hiwdg);
  }
}

extern UpgradeFlashState upgrade_status;
void isrTask(void *argument)
{
  osStatus_t status;
  MsgStruct msg;
  uint32_t switch_channel;

  OSW_Init();

  for (;;)
  {
    status = osMessageQueueGet(mid_ISR, &msg, 0U, osWaitForever);
    if (status != osOK)
      continue;

    if (msg.type == MSG_TYPE_FLASH_ISR) {
      EPT("Received MSG_TYPE_FLASH_ISR, flash_empty = %u\n", upgrade_status.flash_empty);
      status = Update_Up_Status(&upgrade_status);
      if (status != osOK) {
        EPT("Update upgrade status to eeprom failed\n");
      }
    } else if (msg.type == MSG_TYPE_SWITCH_ISR) {
      switch_channel = Get_Switch_Channel_By_IO();
      EPT("Switch number is %u\n", switch_channel);
      if (switch_channel < 1 || switch_channel > 64) {
        EPT("Invalid switch chennel\n");
        THROW_LOG("Invalid switch chennel = %u [io]\n", switch_channel);
        continue;
      }

      if (switch_channel == run_status.switch_channel) {
        THROW_LOG("Same as current chennel %u\n", switch_channel);
        continue;
      }

      if ((status = osMutexAcquire(swMutex, 50)) != osOK) {
        THROW_LOG("Acquire mutex of sw failed\n");
        continue;
      }

      Clear_Switch_Ready();
      if (Set_Switch(switch_channel)) {
        run_status.switch_channel = 0;
        if (!Is_Flag_Set(&run_status.exp, EXP_SWITCH)) {
          THROW_LOG("Switch abnormal\n");
          Set_Flag(&run_status.exp, EXP_SWITCH);
        }
        osMutexRelease(swMutex);
        continue;
      }

      run_status.switch_channel = switch_channel;
      // osDelay(pdMS_TO_TICKS(4));

      // Check
      if (Get_Current_Switch_Channel() != switch_channel) {
        Reset_Switch_Only();
        if (!Is_Flag_Set(&run_status.exp, EXP_SWITCH)) {
          THROW_LOG("Switch abnormal\n");
          Set_Flag(&run_status.exp, EXP_SWITCH);
        }
        osMutexRelease(swMutex);
        continue;
      }

      Set_Switch_Ready();
      if (Is_Flag_Set(&run_status.exp, EXP_SWITCH)) {
        THROW_LOG("Switch back to normal\n");
        Clear_Flag(&run_status.exp, EXP_SWITCH);
      }
      osMutexRelease(swMutex);
    }
  }
}

void swIsrTask(void *argument)
{
  osStatus_t status;
  MsgStruct msg;

  for (;;)
  {
    status = osMessageQueueGet(mid_SwISR, &msg, 0U, osWaitForever);
    if (status != osOK)
      continue;

    if (msg.type == MSG_TYPE_SWITCH_DAC_ISR) {
      if (sw_tim_control.cur_x < sw_tim_control.dst_x) {
        sw_tim_control.cur_x = (sw_tim_control.dst_x - sw_tim_control.cur_x > sw_tim_control.step) ?\
                                (sw_tim_control.cur_x + sw_tim_control.step) : (sw_tim_control.dst_x);
      } else if (sw_tim_control.cur_x > sw_tim_control.dst_x) {
        sw_tim_control.cur_x = (sw_tim_control.cur_x - sw_tim_control.dst_x > sw_tim_control.step) ?\
                                (sw_tim_control.cur_x - sw_tim_control.step) : (sw_tim_control.dst_x);
      }

      if (sw_tim_control.cur_y < sw_tim_control.dst_y) {
        sw_tim_control.cur_y = (sw_tim_control.dst_y - sw_tim_control.cur_y > sw_tim_control.step) ?\
                                (sw_tim_control.cur_y + sw_tim_control.step) : (sw_tim_control.dst_y);
      } else if (sw_tim_control.cur_y > sw_tim_control.dst_y) {
        sw_tim_control.cur_y = (sw_tim_control.cur_y - sw_tim_control.dst_y > sw_tim_control.step) ?\
                                (sw_tim_control.cur_y - sw_tim_control.step) : (sw_tim_control.dst_y);
      }

      set_sw_dac_2(sw_tim_control.sw_num, sw_tim_control.cur_x, sw_tim_control.cur_y);

      if (sw_tim_control.cur_x == sw_tim_control.dst_x && sw_tim_control.cur_y == sw_tim_control.dst_y) {
        osSemaphoreRelease(switchSemaphore);
      } else {
        HAL_TIM_Base_Start_IT(&htim6);
      }
    }
  }
}

extern UpgradeStruct up_state;
void logTask(void *argument)
{
  MsgStruct log_msg;
  osStatus_t status;
  uint32_t write_length;

  uint32_t overflow_addr;
  uint32_t next_sector_addr;
  uint8_t next_sector;
  uint8_t remainder;

  osDelay(pdMS_TO_TICKS(1000));

  if (log_file_state.cur_sector == LOG_FIRST_SECTOR + file_flash_count - 1) {
    overflow_addr = file_flash_end + 1;
    next_sector_addr = file_flash_addr[0];
    next_sector = LOG_FIRST_SECTOR;
  } else {
    next_sector_addr = overflow_addr = file_flash_addr[log_file_state.cur_sector - LOG_FIRST_SECTOR + 1];
    next_sector = log_file_state.cur_sector + 1;
  }

  for (;;)
  {
    status = osMessageQueueGet(mid_LogMsg, &log_msg, 0U, osWaitForever);
    if (status != osOK)
      continue;

    if (log_file_state.offset >= file_flash_end + 1 || log_file_state.offset < file_flash_addr[0])
      continue;

    // The final amount of data written to flash must be an integer multiple of 4
    remainder = log_msg.length % 4;
    if (remainder) remainder = 4 - remainder;
    if (log_file_state.offset + log_msg.length + remainder >= overflow_addr) {
      // 1. fill the rest space with ' '
      Log_Write_byte(log_file_state.offset, ' ', overflow_addr - log_file_state.offset - 4);
      Log_Write_byte(log_file_state.offset + overflow_addr - log_file_state.offset - 4, '\n', 4);

      // 2. erase flash
      while (flash_in_use) {
        osDelay(pdMS_TO_TICKS(200));
      }
      //THROW_LOG("Log space overflow, erasing flash sector %u\n", next_sector);
      osSemaphoreAcquire(logEraseSemaphore, 0);
      if (FLASH_If_Erase_IT(next_sector) == FLASHIF_OK) {
        flash_in_use = 1;
      } else {
        Set_Flag(&run_status.internal_exp, INT_EXP_LOG_ERASE);
      }

      // 3. waiting for completion
      osSemaphoreAcquire(logEraseSemaphore, osWaitForever);

      // 4. update log_file_state, overflow_addr and next_***s
      log_file_state.offset = next_sector_addr;
      log_file_state.cur_sector = next_sector;
      if (log_file_state.cur_sector == LOG_FIRST_SECTOR + file_flash_count - 1) {
        overflow_addr = file_flash_end + 1;
        next_sector_addr = file_flash_addr[0];
        next_sector = LOG_FIRST_SECTOR;
      } else {
        next_sector_addr = overflow_addr = file_flash_addr[log_file_state.cur_sector - LOG_FIRST_SECTOR + 1];
        next_sector = log_file_state.cur_sector + 1;
      }
      if (log_file_state.offset == log_file_state.header) {
        log_file_state.header = next_sector_addr;
      }
    }

    EPT("Writing log to flash address %#X, header = %#X\n", log_file_state.offset, log_file_state.header);
    while (flash_in_use) {
      EPT("Flash in using...\n");
      osDelay(pdMS_TO_TICKS(200));
    }
    write_length = Log_Write(log_file_state.offset, log_msg.pbuf, log_msg.length);
    log_file_state.offset += write_length;

    vPortFree(log_msg.pbuf);

    if (osMessageQueueGetCount(mid_LogMsg) == 0) {
      // update log_file_state to eeprom/flash
      Update_Log_Status(&log_file_state);
    }
  }
}

void monitorTask(void *argument)
{
  osStatus_t status;
  uint16_t value;
  double voltage, temp;

  osDelay(pdMS_TO_TICKS(500));

  Set_Switch_Ready();

  for (;;) {

    status = RTOS_ADC7828_Read(VOLTAGE_2_5_CHANNEL, &value);
    if (status != osOK) {
      EPT("Read adc7828 failed\n");
    } else {
      voltage = (double)value / 4096 * 2.5 * 2;
    }
#if 0
    if (voltage > thr_table.vol_2_5_high || voltage < thr_table.vol_2_5_low) {
      if (!Is_Flag_Set(&run_status.exp, EXP_VOLTAGE_2_5)) {
        THROW_LOG("Voltage 2.5V abnormal\n");
        Set_Flag(&run_status.exp, EXP_VOLTAGE_2_5);
      }
    } else {
      if (Is_Flag_Set(&run_status.exp, EXP_VOLTAGE_2_5)) {
        THROW_LOG("Voltage 2.5V back to normal\n");
        Clear_Flag(&run_status.exp, EXP_VOLTAGE_2_5);
      }
    }
#else
    if (!Is_Flag_Set(&run_status.exp, EXP_VOLTAGE_2_5)) {
      if (voltage > run_status.thr_table.vol_2_5_high_alarm || voltage < run_status.thr_table.vol_2_5_low_alarm) {
        THROW_LOG("Voltage 2.5V abnormal, current voltage = %.3lfV\n", voltage);
        Set_Flag(&run_status.exp, EXP_VOLTAGE_2_5);
      }
    } else {
      if (voltage <= run_status.thr_table.vol_2_5_high_clear && voltage >= run_status.thr_table.vol_2_5_low_clear) {
        THROW_LOG("Voltage 2.5V back to normal\n");
        Clear_Flag(&run_status.exp, EXP_VOLTAGE_2_5);
      }
    }
#endif

    status = RTOS_ADC7828_Read(VOLTAGE_3_3_CHANNEL, &value);
    if (status != osOK) {
      EPT("Read adc7828 failed\n");
    } else {
      voltage = (double)value / 4096 * 2.5 * 2;
    }
#if 0
    if (voltage > thr_table.vol_3_3_high || voltage < thr_table.vol_3_3_low) {
      if (!Is_Flag_Set(&run_status.exp, EXP_VOLTAGE_3_3)) {
        THROW_LOG("Voltage 3.3V abnormal\n");
        Set_Flag(&run_status.exp, EXP_VOLTAGE_3_3);
      }
    } else {
      if (Is_Flag_Set(&run_status.exp, EXP_VOLTAGE_3_3)) {
        THROW_LOG("Voltage 3.3V back to normal\n");
        Clear_Flag(&run_status.exp, EXP_VOLTAGE_3_3);
      }
    }
#else
    if (!Is_Flag_Set(&run_status.exp, EXP_VOLTAGE_3_3)) {
      if (voltage > run_status.thr_table.vol_3_3_high_alarm || voltage < run_status.thr_table.vol_3_3_low_alarm) {
        THROW_LOG("Voltage 3.3V abnormal, current voltage = %.3lfV\n", voltage);
        Set_Flag(&run_status.exp, EXP_VOLTAGE_3_3);
      }
    } else {
      if (voltage <= run_status.thr_table.vol_3_3_high_clear && voltage >= run_status.thr_table.vol_3_3_low_clear) {
        THROW_LOG("Voltage 3.3V back to normal\n");
        Clear_Flag(&run_status.exp, EXP_VOLTAGE_3_3);
      }
    }
#endif

    status = RTOS_ADC7828_Read(VOLTAGE_5_0_CHANNEL, &value);
    if (status != osOK) {
      EPT("Read adc7828 failed\n");
      value = 0;
    } else {
      voltage = (double)value / 4096 * 2.5 * 3;
    }
#if 0
    if (voltage > thr_table.vol_5_0_high || voltage < thr_table.vol_5_0_low) {
      if (!Is_Flag_Set(&run_status.exp, EXP_VOLTAGE_5_0)) {
        THROW_LOG("Voltage 5V abnormal\n");
        Set_Flag(&run_status.exp, EXP_VOLTAGE_5_0);
      }
    } else {
      if (Is_Flag_Set(&run_status.exp, EXP_VOLTAGE_5_0)) {
        THROW_LOG("Voltage 5V back to normal\n");
        Clear_Flag(&run_status.exp, EXP_VOLTAGE_5_0);
      }
    }
#else
    if (!Is_Flag_Set(&run_status.exp, EXP_VOLTAGE_5_0)) {
      if (voltage > run_status.thr_table.vol_5_0_high_alarm || voltage < run_status.thr_table.vol_5_0_low_alarm) {
        THROW_LOG("Voltage 5V abnormal, current voltage = %.3lfV\n", voltage);
        Set_Flag(&run_status.exp, EXP_VOLTAGE_5_0);
      }
    } else {
      if (voltage <= run_status.thr_table.vol_5_0_high_clear && voltage >= run_status.thr_table.vol_5_0_low_clear) {
        THROW_LOG("Voltage 5V back to normal\n");
        Clear_Flag(&run_status.exp, EXP_VOLTAGE_5_0);
      }
    }
#endif

    status = RTOS_ADC7828_Read(VOLTAGE_64_0_CHANNEL, &value);
    if (status != osOK) {
      EPT("Read adc7828 failed\n");
      value = 0;
    } else {
      voltage = (double)value / 4096 * 2.5 * 51;
    }
#if 0
    if (voltage > thr_table.vol_64_0_high || voltage < thr_table.vol_64_0_low) {
      if (!Is_Flag_Set(&run_status.exp, EXP_VOLTAGE_64_0)) {
        THROW_LOG("Voltage 64V abnormal\n");
        Set_Flag(&run_status.exp, EXP_VOLTAGE_64_0);
      }
    } else {
      if (Is_Flag_Set(&run_status.exp, EXP_VOLTAGE_64_0)) {
        THROW_LOG("Voltage 64V back to normal\n");
        Clear_Flag(&run_status.exp, EXP_VOLTAGE_64_0);
      }
    }
#else
    if (!Is_Flag_Set(&run_status.exp, EXP_VOLTAGE_64_0)) {
      if (voltage > run_status.thr_table.vol_64_0_high_alarm || voltage < run_status.thr_table.vol_64_0_low_alarm) {
        THROW_LOG("Voltage 64V abnormal, current voltage = %.3lfV\n", voltage);
        Set_Flag(&run_status.exp, EXP_VOLTAGE_64_0);
      }
    } else {
      if (voltage <= run_status.thr_table.vol_64_0_high_clear && voltage >= run_status.thr_table.vol_64_0_low_clear) {
        THROW_LOG("Voltage 64V back to normal\n");
        Clear_Flag(&run_status.exp, EXP_VOLTAGE_64_0);
      }
    }
#endif

    status = RTOS_ADC7828_Read(TEMPERATURE_CHANNEL, &value);
    if (status != osOK) {
      EPT("Read adc7828 failed\n");
      value = 0;
    } else {
      temp = Cal_Temp(value);
    }
#if 0
    if (temp > thr_table.temp_high || temp < thr_table.temp_low) {
      if (!Is_Flag_Set(&run_status.exp, EXP_TEMPERATURE)) {
        THROW_LOG("Temperature abnormal\n");
        Set_Flag(&run_status.exp, EXP_TEMPERATURE);
      }
    } else {
      if (Is_Flag_Set(&run_status.exp, EXP_TEMPERATURE)) {
        THROW_LOG("Temperature back to normal\n");
        Clear_Flag(&run_status.exp, EXP_TEMPERATURE);
      }
    }
#else
    if (!Is_Flag_Set(&run_status.exp, EXP_TEMPERATURE)) {
      if (temp > run_status.thr_table.temp_high_alarm || temp < run_status.thr_table.temp_low_alarm) {
        THROW_LOG("Temperature abnormal, current temperature = %.3lfC\n", temp);
        Set_Flag(&run_status.exp, EXP_TEMPERATURE);
      }
    } else {
      if (temp <= run_status.thr_table.temp_high_clear && temp >= run_status.thr_table.temp_low_clear) {
        THROW_LOG("Temperature back to normal\n");
        Clear_Flag(&run_status.exp, EXP_TEMPERATURE);
      }
    }
#endif

    if (run_status.exp && !run_status.pre_alarm) {
      Set_Alarm();
      run_status.pre_alarm = 1;
    } else if (!run_status.exp && run_status.pre_alarm) {
      Clear_Alarm();
      run_status.pre_alarm = 0;
    }

    osDelay(pdMS_TO_TICKS(500));
  }
}

/* USER CODE END Application */

/************************ (C) COPYRIGHT STMicroelectronics *****END OF FILE****/
